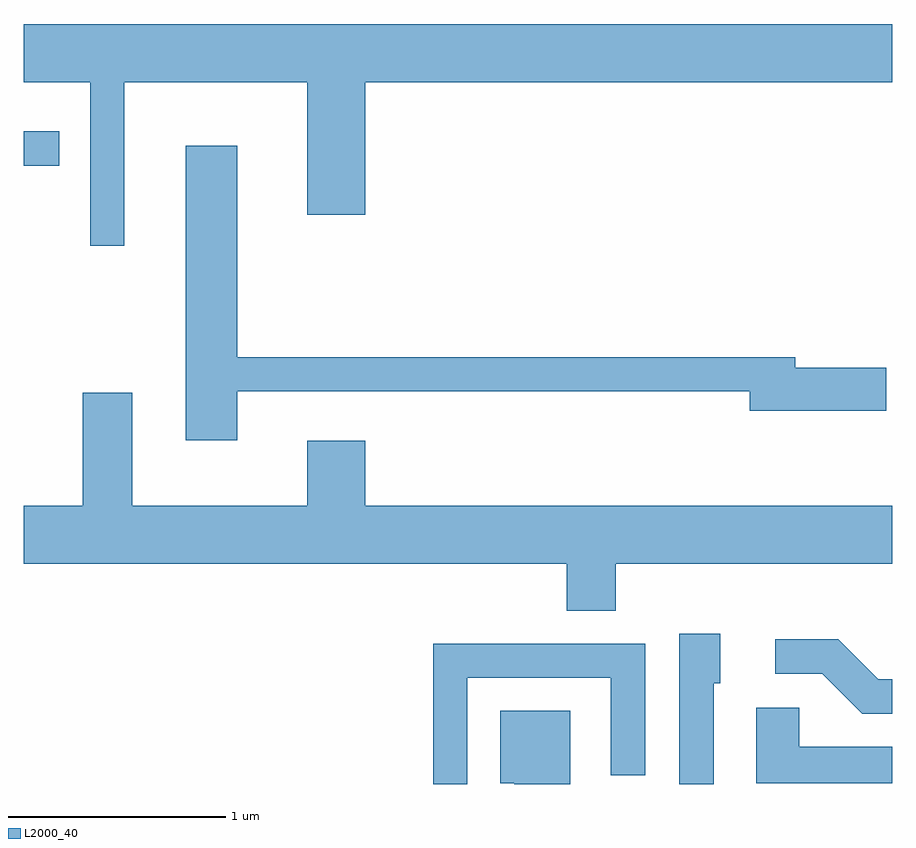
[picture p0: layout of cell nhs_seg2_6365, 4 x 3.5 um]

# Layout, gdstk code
import gdstk
lib = gdstk.Library(unit=1e-6, precision=1e-09)
def R(c, l, rs):  # rectangles x0, y0, x1, y1
    for r in rs: c.add(gdstk.rectangle(r[:2], r[2:], *l))
def P(c, l, *ps):  # polygons
    for p in ps: c.add(gdstk.Polygon(p, *l))
L2000_40 = (2000, 40)

nhs_seg2_6365 = lib.new_cell('nhs_seg2_6365')
R(nhs_seg2_6365, L2000_40, [(373.611,994.651,373.773,994.809)])
P(nhs_seg2_6365, L2000_40, [(374.074,995.036),(374.916,995.036),(374.916,994.426),(375.184,994.426),(375.184,995.036),(377.611,995.036),(377.611,995.304),(373.611,995.304),(373.611,995.036),(373.916,995.036),(373.916,994.283),(374.074,994.283)],
  [(374.594,993.611),(376.956,993.611),(376.956,993.521),(377.584,993.521),(377.584,993.719),(377.164,993.719),(377.164,993.769),(374.594,993.769),(374.594,994.744),(374.356,994.744),(374.356,993.386),(374.594,993.386)],
  [(376.339,992.816),(377.611,992.816),(377.611,993.084),(375.184,993.084),(375.184,993.384),(374.916,993.384),(374.916,993.084),(374.109,993.084),(374.109,993.604),(373.881,993.604),(373.881,993.084),(373.611,993.084),(373.611,992.816),(376.111,992.816),(376.111,992.601),(376.339,992.601)],
  [(376.789,992.266),(376.819,992.266),(376.819,992.494),(376.631,992.494),(376.631,991.802),(376.789,991.802)],
  [(377.611,992.284),(377.547,992.284),(377.362,992.469),(377.073,992.469),(377.073,992.311),(377.289,992.311),(377.474,992.126),(377.611,992.126)],
  [(375.654,992.291),(376.316,992.291),(376.316,991.843),(376.474,991.843),(376.474,992.449),(375.496,992.449),(375.496,991.802),(375.654,991.802)],
  [(377.611,991.974),(377.184,991.974),(377.184,992.154),(376.986,992.154),(376.986,991.806),(377.611,991.806)],
  [(376.129,992.139),(375.806,992.139),(375.806,991.806),(375.871,991.806),(375.871,991.802),(376.129,991.802)])

lib.write_gds('nhs_seg2_6365.gds')
